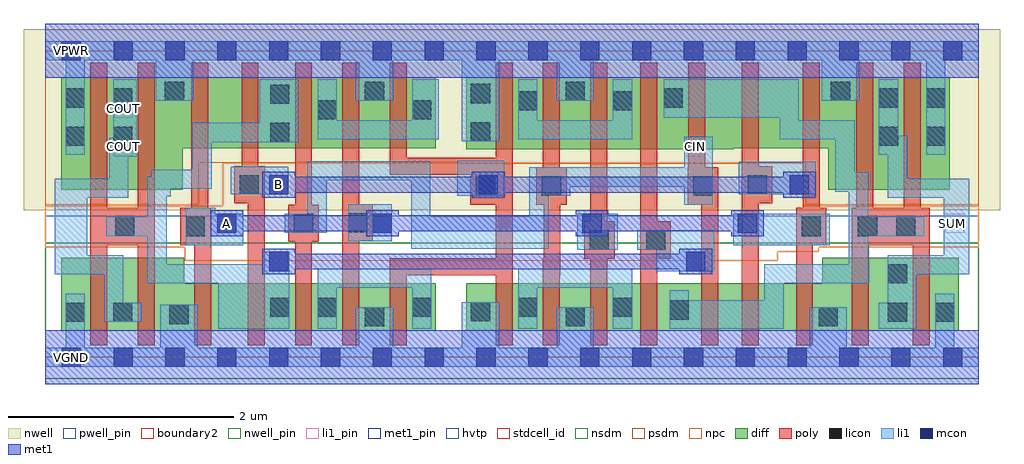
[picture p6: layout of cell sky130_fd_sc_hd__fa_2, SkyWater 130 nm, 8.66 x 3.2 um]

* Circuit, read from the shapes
.subckt sky130_fd_sc_hd__fa_2 A B CIN COUT SUM VGND VNB VPB VPWR
XM1 COUT n1 VGND VNB sky130_fd_pr__nfet_01v8 w=0.65 l=0.15 m=2
XM2 n2 A VGND VNB sky130_fd_pr__nfet_01v8 w=0.42 l=0.15
XM3 n1 B n2 VNB sky130_fd_pr__nfet_01v8 w=0.42 l=0.15
XM4 n3 CIN n1 VNB sky130_fd_pr__nfet_01v8 w=0.42 l=0.15
XM5 VGND A n3 VNB sky130_fd_pr__nfet_01v8 w=0.42 l=0.15
XM6 n3 B VGND VNB sky130_fd_pr__nfet_01v8 w=0.42 l=0.15
XM7 n4 B VGND VNB sky130_fd_pr__nfet_01v8 w=0.42 l=0.15
XM8 VGND CIN n4 VNB sky130_fd_pr__nfet_01v8 w=0.42 l=0.15
XM9 n4 A VGND VNB sky130_fd_pr__nfet_01v8 w=0.42 l=0.15
XM10 n5 n1 n4 VNB sky130_fd_pr__nfet_01v8 w=0.42 l=0.15
XM11 n6 CIN n5 VNB sky130_fd_pr__nfet_01v8 w=0.42 l=0.15
XM12 n7 B n6 VNB sky130_fd_pr__nfet_01v8 w=0.42 l=0.15
XM13 VGND A n7 VNB sky130_fd_pr__nfet_01v8 w=0.42 l=0.15
XM14 SUM n5 VGND VNB sky130_fd_pr__nfet_01v8 w=0.65 l=0.15 m=2
XM15 COUT n1 VPWR VPB sky130_fd_pr__pfet_01v8_hvt w=1 l=0.15 m=2
XM16 n8 A VPWR VPB sky130_fd_pr__pfet_01v8_hvt w=0.63 l=0.15
XM17 n1 B n8 VPB sky130_fd_pr__pfet_01v8_hvt w=0.63 l=0.15
XM18 n9 CIN n1 VPB sky130_fd_pr__pfet_01v8_hvt w=0.63 l=0.15
XM19 VPWR A n9 VPB sky130_fd_pr__pfet_01v8_hvt w=0.63 l=0.15
XM20 n9 B VPWR VPB sky130_fd_pr__pfet_01v8_hvt w=0.63 l=0.15
XM21 n10 B VPWR VPB sky130_fd_pr__pfet_01v8_hvt w=0.64 l=0.15
XM22 VPWR CIN n10 VPB sky130_fd_pr__pfet_01v8_hvt w=0.64 l=0.15
XM23 n10 A VPWR VPB sky130_fd_pr__pfet_01v8_hvt w=0.64 l=0.15
XM24 n5 n1 n10 VPB sky130_fd_pr__pfet_01v8_hvt w=0.64 l=0.15
XM25 n11 CIN n5 VPB sky130_fd_pr__pfet_01v8_hvt w=0.64 l=0.15
XM26 n12 B n11 VPB sky130_fd_pr__pfet_01v8_hvt w=0.63 l=0.15
XM27 VPWR A n12 VPB sky130_fd_pr__pfet_01v8_hvt w=0.63 l=0.15
XM28 SUM n5 VPWR VPB sky130_fd_pr__pfet_01v8_hvt w=1 l=0.15 m=2
.ends

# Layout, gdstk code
import gdstk
lib = gdstk.Library(unit=1e-6, precision=1e-09)
def R(c, l, rs):  # rectangles x0, y0, x1, y1
    for r in rs: c.add(gdstk.rectangle(r[:2], r[2:], *l))
def A(c, l, x, y, w, h, nx, ny, dx, dy):  # array of equal rectangles
    R(c, l, [(x+i*dx, y+j*dy, x+i*dx+w, y+j*dy+h) for i in range(nx) for j in range(ny)])
def P(c, l, *ps):  # polygons
    for p in ps: c.add(gdstk.Polygon(p, *l))
nwell_pin = (64, 16)
nwell = (64, 20)
diff = (65, 20)
poly = (66, 20)
licon = (66, 44)
li1_pin = (67, 16)
li1 = (67, 20)
mcon = (67, 44)
met1_pin = (68, 16)
met1 = (68, 20)
hvtp = (78, 44)
stdcell_id = (81, 4)
nsdm = (93, 44)
psdm = (94, 20)
npc = (95, 20)
pwell_pin = (122, 16)
boundary2 = (236, 0)

sky130_fd_sc_hd__fa_2 = lib.new_cell('sky130_fd_sc_hd__fa_2')
R(sky130_fd_sc_hd__fa_2, nwell_pin, [(0.145,2.635,0.315,2.805)])
R(sky130_fd_sc_hd__fa_2, nwell, [(-0.19,1.305,8.47,2.91)])
P(sky130_fd_sc_hd__fa_2, diff, [(3.735,0.235),(3.735,0.655),(6.895,0.655),(6.895,0.885),(8.105,0.885),(8.105,0.235)],
  [(0.14,0.235),(0.14,0.885),(1.23,0.885),(1.23,0.655),(3.465,0.655),(3.465,0.235)],
  [(6.945,1.485),(6.945,1.855),(6.105,1.855),(6.105,1.845),(3.735,1.845),(3.735,2.485),(8.025,2.485),(8.025,1.485)],
  [(0.14,1.485),(0.14,2.485),(3.465,2.485),(3.465,1.855),(1.22,1.855),(1.22,1.485)])
P(sky130_fd_sc_hd__fa_2, poly, [(1.795,0.105),(1.795,1.365),(1.675,1.365),(1.675,1.695),(1.74,1.695),(1.74,2.615),(1.89,2.615),(1.89,1.695),(1.945,1.695),(1.945,0.105)],
  [(6.66,0.105),(6.66,1.325),(6.72,1.325),(6.72,2.615),(6.87,2.615),(6.87,1.325),(6.93,1.325),(6.93,0.995),(6.81,0.995),(6.81,0.105)],
  [(3.055,0.105),(3.055,0.88),(3.995,0.88),(3.995,1.355),(3.77,1.355),(3.77,1.62),(3.055,1.62),(3.055,2.615),(3.205,2.615),(3.205,1.77),(3.995,1.77),(3.995,2.615),(4.145,2.615),(4.145,0.105),(3.995,0.105),(3.995,0.73),(3.205,0.73),(3.205,0.105)],
  [(0.4,0.105),(0.4,2.615),(0.55,2.615),(0.55,1.325),(0.82,1.325),(0.82,2.615),(0.97,2.615),(0.97,0.105),(0.82,0.105),(0.82,0.995),(0.55,0.995),(0.55,0.105)],
  [(2.215,0.105),(2.215,1.025),(2.155,1.025),(2.155,1.355),(2.215,1.355),(2.215,2.615),(2.365,2.615),(2.365,1.355),(2.425,1.355),(2.425,1.025),(2.365,1.025),(2.365,0.105)],
  [(1.32,0.105),(1.32,0.995),(1.195,0.995),(1.195,1.325),(1.295,1.325),(1.295,2.615),(1.445,2.615),(1.445,1.325),(1.465,1.325),(1.465,1.145),(1.47,1.145),(1.47,0.105)],
  [(5.28,0.105),(5.28,2.615),(5.43,2.615),(5.43,1.205),(5.55,1.205),(5.55,0.875),(5.43,0.875),(5.43,0.105)],
  [(6.18,0.105),(6.18,2.615),(6.33,2.615),(6.33,1.695),(6.45,1.695),(6.45,1.365),(6.33,1.365),(6.33,0.105)],
  [(5.82,0.105),(5.82,1.355),(5.7,1.355),(5.7,1.685),(5.705,1.685),(5.705,2.615),(5.855,2.615),(5.855,1.685),(5.97,1.685),(5.97,0.105)],
  [(2.635,0.105),(2.635,2.615),(2.785,2.615),(2.785,1.36),(2.905,1.36),(2.905,1.03),(2.785,1.03),(2.785,0.105)],
  [(7.155,0.105),(7.155,1.325),(7.195,1.325),(7.195,2.615),(7.345,2.615),(7.345,1.325),(7.615,1.325),(7.615,2.615),(7.765,2.615),(7.765,1.325),(7.845,1.325),(7.845,0.105),(7.695,0.105),(7.695,0.995),(7.305,0.995),(7.305,0.105)],
  [(4.835,0.105),(4.835,0.875),(4.78,0.875),(4.78,1.205),(4.835,1.205),(4.835,2.615),(4.985,2.615),(4.985,1.205),(5.05,1.205),(5.05,0.875),(4.985,0.875),(4.985,0.105)],
  [(4.415,0.105),(4.415,0.88),(4.42,0.88),(4.42,1.355),(4.355,1.355),(4.355,1.685),(4.415,1.685),(4.415,2.615),(4.565,2.615),(4.565,1.685),(4.625,1.685),(4.625,1.355),(4.57,1.355),(4.57,0.73),(4.565,0.73),(4.565,0.105)])
R(sky130_fd_sc_hd__fa_2, licon, [(2.835,0.275,3.005,0.445), (4.615,0.275,4.785,0.445), (6.86,0.275,7.03,0.445), (1.1,0.295,1.27,0.465), (0.18,0.315,0.35,0.485), (0.6,0.315,0.77,0.485), (7.475,0.315,7.645,0.485), (7.895,0.315,8.065,0.485), (3.775,0.32,3.945,0.49), (5.54,0.335,5.71,0.505), (1.995,0.36,2.165,0.53), (2.415,0.36,2.585,0.53), (3.255,0.36,3.425,0.53), (4.195,0.36,4.365,0.53), (5.035,0.36,5.205,0.53), (7.475,0.655,7.645,0.825), (4.83,0.955,5,1.125), (5.33,0.955,5.5,1.125), (0.62,1.075,0.79,1.245), (1.245,1.075,1.415,1.245), (6.71,1.075,6.88,1.245), (7.21,1.075,7.38,1.245), (7.55,1.075,7.72,1.245), (2.205,1.105,2.375,1.275), (2.685,1.11,2.855,1.28), (3.82,1.435,3.99,1.605), (4.405,1.435,4.575,1.605), (5.75,1.435,5.92,1.605), (1.725,1.445,1.895,1.615), (6.23,1.445,6.4,1.615), (0.18,1.875,0.35,2.045), (0.6,1.875,0.77,2.045), (7.395,1.875,7.565,2.045), (7.815,1.875,7.985,2.045), (1.995,1.91,2.165,2.08), (3.775,1.915,3.945,2.085), (2.415,2.11,2.585,2.28), (3.255,2.11,3.425,2.28), (4.195,2.19,4.365,2.36), (5.035,2.19,5.205,2.36), (0.18,2.215,0.35,2.385), (0.6,2.215,0.77,2.385), (5.485,2.215,5.655,2.385), (7.395,2.215,7.565,2.385), (7.815,2.215,7.985,2.385), (1.995,2.25,2.165,2.42), (3.775,2.255,3.945,2.425), (1.06,2.275,1.23,2.445), (2.835,2.275,3.005,2.445), (4.615,2.275,4.785,2.445), (6.97,2.275,7.14,2.445)])
R(sky130_fd_sc_hd__fa_2, li1_pin, [(0.145,-0.085,0.315,0.085), (1.525,1.105,1.695,1.275), (7.985,1.105,8.155,1.275), (1.985,1.445,2.155,1.615), (0.605,1.785,0.775,1.955), (5.685,1.785,5.855,1.955), (0.605,2.125,0.775,2.295), (0.145,2.635,0.315,2.805)])
R(sky130_fd_sc_hd__fa_2, li1, [(4.72,0.955,5.08,1.275), (6.105,0.995,6.96,1.275), (2.685,1.03,3.075,1.36), (3.655,1.435,4.07,1.745), (1.645,1.445,2.155,1.69), (6.15,1.445,6.835,1.735), (1.9,1.91,2.245,2.465)])
P(sky130_fd_sc_hd__fa_2, li1, [(0.52,0.315),(0.52,0.735),(0.085,0.735),(0.085,1.585),(0.565,1.585),(0.565,1.95),(0.6,1.95),(0.6,2.465),(0.81,2.465),(0.81,1.78),(0.735,1.78),(0.735,1.415),(0.37,1.415),(0.37,0.905),(0.69,0.905),(0.69,0.485),(0.85,0.485),(0.85,0.315)],
  [(3.245,0.965),(3.245,1.57),(2.495,1.57),(2.495,1.105),(2.125,1.105),(2.125,1.275),(2.325,1.275),(2.325,1.74),(3.415,1.74),(3.415,1.25),(4.295,1.25),(4.295,1.685),(5.67,1.685),(5.67,1.955),(5.92,1.955),(5.92,1.355),(5.67,1.355),(5.67,1.515),(4.655,1.515),(4.655,1.435),(4.465,1.435),(4.465,0.965)],
  [(4.195,1.935),(4.195,2.465),(4.365,2.465),(4.365,2.105),(5.035,2.105),(5.035,2.465),(5.205,2.465),(5.205,1.935)],
  [(0.18,1.795),(0.18,2.635),(0,2.635),(0,2.805),(8.28,2.805),(8.28,2.635),(7.985,2.635),(7.985,1.795),(7.815,1.795),(7.815,2.635),(7.22,2.635),(7.22,2.275),(6.89,2.275),(6.89,2.635),(4.865,2.635),(4.865,2.275),(4.535,2.275),(4.535,2.635),(4.025,2.635),(4.025,1.915),(3.695,1.915),(3.695,2.635),(3.085,2.635),(3.085,2.275),(2.755,2.275),(2.755,2.635),(1.31,2.635),(1.31,2.275),(0.98,2.275),(0.98,2.635),(0.35,2.635),(0.35,1.795)],
  [(1.245,0.995),(1.245,1.325),(1.505,1.325),(1.505,1.275),(1.755,1.275),(1.755,0.995)],
  [(5.54,0.255),(5.54,0.595),(5.71,0.595),(5.71,0.505),(6.38,0.505),(6.38,0.825),(7.13,0.825),(7.13,1.47),(7.01,1.47),(7.01,1.935),(6.515,1.935),(6.515,2.125),(5.485,2.125),(5.485,2.465),(6.685,2.465),(6.685,2.105),(7.18,2.105),(7.18,1.64),(7.3,1.64),(7.3,1.245),(7.8,1.245),(7.8,1.075),(7.3,1.075),(7.3,0.655),(6.55,0.655),(6.55,0.255)],
  [(5.42,0.765),(5.42,0.955),(5.25,0.955),(5.25,1.125),(5.935,1.125),(5.935,0.765)],
  [(7.395,0.255),(7.395,0.485),(7.475,0.485),(7.475,0.905),(7.97,0.905),(7.97,1.415),(7.475,1.415),(7.475,1.795),(7.395,1.795),(7.395,2.465),(7.565,2.465),(7.565,1.965),(7.645,1.965),(7.645,1.585),(8.195,1.585),(8.195,0.735),(7.725,0.735),(7.725,0.255)],
  [(2.415,1.935),(2.415,2.465),(2.585,2.465),(2.585,2.105),(3.255,2.105),(3.255,2.465),(3.49,2.465),(3.49,1.935)],
  [(1.535,0.255),(1.535,0.655),(0.905,0.655),(0.905,1.075),(0.54,1.075),(0.54,1.245),(0.905,1.245),(0.905,1.6),(0.94,1.6),(0.94,1.665),(1.475,1.665),(1.475,1.495),(1.11,1.495),(1.11,1.43),(1.075,1.43),(1.075,0.825),(1.925,0.825),(1.925,0.935),(2.165,0.935),(2.165,0.255)],
  [(2.415,0.255),(2.415,0.785),(3.425,0.785),(3.425,0.255),(3.255,0.255),(3.255,0.615),(2.585,0.615),(2.585,0.255)],
  [(4.195,0.255),(4.195,0.785),(5.205,0.785),(5.205,0.255),(5.035,0.255),(5.035,0.615),(4.365,0.615),(4.365,0.255)],
  [(0,-0.085),(0,0.085),(0.18,0.085),(0.18,0.565),(0.35,0.565),(0.35,0.085),(1.02,0.085),(1.02,0.465),(1.35,0.465),(1.35,0.085),(2.755,0.085),(2.755,0.445),(3.085,0.445),(3.085,0.085),(3.695,0.085),(3.695,0.49),(4.025,0.49),(4.025,0.085),(4.535,0.085),(4.535,0.445),(4.865,0.445),(4.865,0.085),(6.78,0.085),(6.78,0.445),(7.11,0.445),(7.11,0.085),(7.895,0.085),(7.895,0.565),(8.065,0.565),(8.065,0.085),(8.28,0.085),(8.28,-0.085)])
A(sky130_fd_sc_hd__fa_2, mcon, 0.145, -0.085, 0.17, 0.17, 18, 2, 0.46, 2.72)
R(sky130_fd_sc_hd__fa_2, mcon, [(1.985,0.765,2.155,0.935), (5.685,0.765,5.855,0.935), (1.525,1.105,1.695,1.275), (2.905,1.105,3.075,1.275), (4.765,1.105,4.935,1.275), (6.145,1.105,6.315,1.275), (1.985,1.445,2.155,1.615), (3.845,1.445,4.015,1.615), (6.605,1.445,6.775,1.615)])
R(sky130_fd_sc_hd__fa_2, met1_pin, [(0.145,-0.085,0.315,0.085), (0.145,2.635,0.315,2.805)])
P(sky130_fd_sc_hd__fa_2, met1, [(1.925,1.415),(1.925,1.645),(2.215,1.645),(2.215,1.6),(3.785,1.6),(3.785,1.645),(4.075,1.645),(4.075,1.6),(6.545,1.6),(6.545,1.645),(6.835,1.645),(6.835,1.415),(6.545,1.415),(6.545,1.46),(4.075,1.46),(4.075,1.415),(3.785,1.415),(3.785,1.46),(2.215,1.46),(2.215,1.415)],
  [(1.925,0.735),(1.925,0.965),(2.215,0.965),(2.215,0.92),(5.625,0.92),(5.625,0.965),(5.915,0.965),(5.915,0.735),(5.625,0.735),(5.625,0.78),(2.215,0.78),(2.215,0.735)],
  [(1.465,1.075),(1.465,1.305),(1.755,1.305),(1.755,1.26),(2.845,1.26),(2.845,1.305),(3.135,1.305),(3.135,1.26),(4.705,1.26),(4.705,1.305),(4.995,1.305),(4.995,1.26),(6.085,1.26),(6.085,1.305),(6.375,1.305),(6.375,1.075),(6.085,1.075),(6.085,1.12),(4.995,1.12),(4.995,1.075),(4.705,1.075),(4.705,1.12),(3.135,1.12),(3.135,1.075),(2.845,1.075),(2.845,1.12),(1.755,1.12),(1.755,1.075)])
R(sky130_fd_sc_hd__fa_2, hvtp, [(0,1.25,8.28,2.72)])
R(sky130_fd_sc_hd__fa_2, stdcell_id, [(0,0,8.28,2.72)])
R(sky130_fd_sc_hd__fa_2, nsdm, [(0,-0.19,8.28,1.015)])
P(sky130_fd_sc_hd__fa_2, psdm, [(0,1.355),(0,2.91),(8.28,2.91),(8.28,1.355),(6.74,1.355),(6.74,1.725),(6.155,1.725),(6.155,1.715),(3.685,1.715),(3.685,1.725),(1.36,1.725),(1.36,1.355)])
P(sky130_fd_sc_hd__fa_2, npc, [(1.235,0.855),(1.235,0.975),(0,0.975),(0,1.345),(1.575,1.345),(1.575,1.725),(6.73,1.725),(6.73,1.345),(8.28,1.345),(8.28,0.975),(6.86,0.975),(6.86,0.935),(6.5,0.935),(6.5,0.855)])
R(sky130_fd_sc_hd__fa_2, pwell_pin, [(0.145,-0.085,0.315,0.085)])
R(sky130_fd_sc_hd__fa_2, boundary2, [(0,0,8.28,2.72)])
sky130_fd_sc_hd__fa_2.add(gdstk.FlexPath([(2.2,1.995),(1.39,1.995),(1.39,1.495)], 0.17, ends="flush", simple_path=True, layer=67, datatype=20))  # li1
sky130_fd_sc_hd__fa_2.add(gdstk.FlexPath([(0,0),(8.28,0)], 0.48, ends="flush", simple_path=True, layer=68, datatype=20))  # met1
sky130_fd_sc_hd__fa_2.add(gdstk.FlexPath([(0,2.72),(8.28,2.72)], 0.48, ends="flush", simple_path=True, layer=68, datatype=20))  # met1
sky130_fd_sc_hd__fa_2.add(gdstk.Label('VPWR', (0.23,2.72), layer=68, texttype=5))
sky130_fd_sc_hd__fa_2.add(gdstk.Label('VGND', (0.23,0), layer=68, texttype=5))
sky130_fd_sc_hd__fa_2.add(gdstk.Label('VPB', (0.23,2.72), layer=64, texttype=5))
sky130_fd_sc_hd__fa_2.add(gdstk.Label('VNB', (0.23,0), layer=64, texttype=59))
sky130_fd_sc_hd__fa_2.add(gdstk.Label('fa_2', (0,0), layer=83, texttype=44))
sky130_fd_sc_hd__fa_2.add(gdstk.Label('VPWR', (0.23,2.72), layer=67, texttype=5))
sky130_fd_sc_hd__fa_2.add(gdstk.Label('VGND', (0.23,0), layer=67, texttype=5))
sky130_fd_sc_hd__fa_2.add(gdstk.Label('CIN', (5.77,1.87), layer=67, texttype=5))
sky130_fd_sc_hd__fa_2.add(gdstk.Label('A', (1.61,1.19), layer=67, texttype=5))
sky130_fd_sc_hd__fa_2.add(gdstk.Label('SUM', (8.05,1.19), layer=67, texttype=5))
sky130_fd_sc_hd__fa_2.add(gdstk.Label('B', (2.07,1.53), layer=67, texttype=5))
sky130_fd_sc_hd__fa_2.add(gdstk.Label('COUT', (0.69,1.87), layer=67, texttype=5))
sky130_fd_sc_hd__fa_2.add(gdstk.Label('COUT', (0.69,2.21), layer=67, texttype=5))

lib.write_gds('sky130_fd_sc_hd__fa_2.gds')
